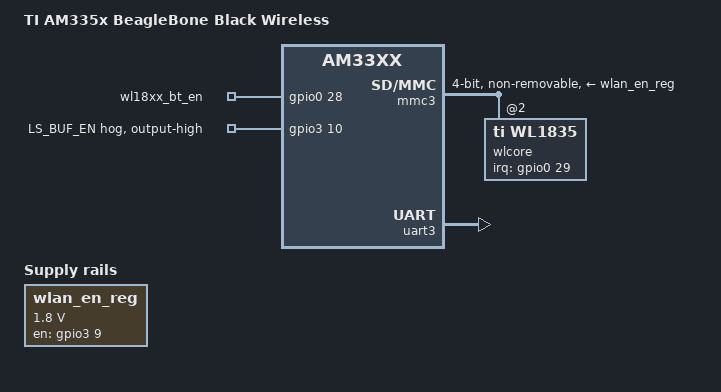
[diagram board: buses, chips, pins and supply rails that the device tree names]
/*
 * Copyright (C) 2012 Texas Instruments Incorporated - http://www.ti.com/
 *
 * This program is free software; you can redistribute it and/or modify
 * it under the terms of the GNU General Public License version 2 as
 * published by the Free Software Foundation.
 */

/dts-v1/;
/plugin/;

#include <dt-bindings/gpio/gpio.h>
#include <dt-bindings/pinctrl/am33xx.h>
#include <dt-bindings/interrupt-controller/irq.h>

/ {
	fragment@0 {
		target-path="/";
		__overlay__ {
			model = "TI AM335x BeagleBone Black Wireless";
			compatible = "ti,am335x-bone-black", "ti,am335x-bone", "ti,am33xx";

			wlan_en_reg: fixedregulator@2 {
				compatible = "regulator-fixed";
				regulator-name = "wlan-en-regulator";
				regulator-min-microvolt = <1800000>;
				regulator-max-microvolt = <1800000>;
				startup-delay-us= <70000>;

				/* WL_EN */
				gpio = <&gpio3 9 0>;
				enable-active-high;
			};

			leds {
				pinctrl-names = "default";
				pinctrl-0 = <&wl18xx_pins>;
				compatible = "gpio-leds";

				wl18xx_bt_en {
					label = "wl18xx_bt_en";
					gpios = <&gpio0 28 GPIO_ACTIVE_HIGH>;
					default-state = "off";
				};
			};
		};
	};

	fragment@1 {
		target = <&am33xx_pinmux>;
		__overlay__ {
			wl18xx_pins: pinmux_wl18xx_pins {
				pinctrl-single,pins = <
					AM33XX_IOPAD(0x928, PIN_OUTPUT_PULLUP | MUX_MODE7)	/* gmii1_txd0.gpio0_28 - BT_EN */
				>;
			};

			wlbtbuf_pin: pinmux_wlbtbuf_pin {
				pinctrl-single,pins = <
					AM33XX_IOPAD(0x930, PIN_OUTPUT_PULLUP | MUX_MODE7)	/* gmii1_rxclk.gpio3_10 LS_BUF_EN */
				>;
			};

			mmc3_pins: pinmux_mmc3_pins {
				pinctrl-single,pins = <
					AM33XX_IOPAD(0x93c, PIN_INPUT_PULLUP | MUX_MODE6 ) /* (L15) gmii1_rxd1.mmc2_clk */
					AM33XX_IOPAD(0x914, PIN_INPUT_PULLUP | MUX_MODE6 ) /* (J16) gmii1_txen.mmc2_cmd */
					AM33XX_IOPAD(0x918, PIN_INPUT_PULLUP | MUX_MODE5 ) /* (J17) gmii1_rxdv.mmc2_dat0 */
					AM33XX_IOPAD(0x91c, PIN_INPUT_PULLUP | MUX_MODE5 ) /* (J18) gmii1_txd3.mmc2_dat1 */
					AM33XX_IOPAD(0x920, PIN_INPUT_PULLUP | MUX_MODE5 ) /* (K15) gmii1_txd2.mmc2_dat2 */
					AM33XX_IOPAD(0x908, PIN_INPUT_PULLUP | MUX_MODE5 ) /* (H16) gmii1_col.mmc2_dat3 */
				>;
			};

			mmc3_pins_sleep: pinmux_mmc3_pins_sleep {
				pinctrl-single,pins = <
					AM33XX_IOPAD(0x93c, PIN_INPUT_PULLDOWN | MUX_MODE6 ) /* (L15) gmii1_rxd1.mmc2_clk */
					AM33XX_IOPAD(0x914, PIN_INPUT_PULLDOWN | MUX_MODE6 ) /* (J16) gmii1_txen.mmc2_cmd */
					AM33XX_IOPAD(0x918, PIN_INPUT_PULLDOWN | MUX_MODE5 ) /* (J17) gmii1_rxdv.mmc2_dat0 */
					AM33XX_IOPAD(0x91c, PIN_INPUT_PULLDOWN | MUX_MODE5 ) /* (J18) gmii1_txd3.mmc2_dat1 */
					AM33XX_IOPAD(0x920, PIN_INPUT_PULLDOWN | MUX_MODE5 ) /* (K15) gmii1_txd2.mmc2_dat2 */
					AM33XX_IOPAD(0x908, PIN_INPUT_PULLDOWN | MUX_MODE5 ) /* (H16) gmii1_col.mmc2_dat3 */
				>;
			};

			/* wl18xx card enable/irq GPIOs. */
			wlan_pins: pinmux_wlan_pins {
				pinctrl-single,pins = <
					AM33XX_IOPAD(0x92c, PIN_OUTPUT_PULLDOWN | MUX_MODE7)	/* gmii1_txclk.gpio3_9 WL_EN */
					AM33XX_IOPAD(0x944, PIN_INPUT_PULLDOWN | MUX_MODE7)	/* rmii1_refclk.gpio0_29 WL_IRQ */
				>;
			};

			/* wl18xx card enable/irq GPIOs. */
			wlan_pins_sleep: pinmux_wlan_pins_sleep {
				pinctrl-single,pins = <
					AM33XX_IOPAD(0x92c, PIN_OUTPUT_PULLDOWN | MUX_MODE7)	/* gmii1_txclk.gpio3_9 WL_EN */
					AM33XX_IOPAD(0x944, PIN_INPUT_PULLDOWN | MUX_MODE7)	/* rmii1_refclk.gpio0_29 WL_IRQ */
				>;
			};

			uart3_pins_default: pinmux_uart3_pins_default {
				pinctrl-single,pins = <
					AM33XX_IOPAD(0x934, PIN_INPUT_PULLUP | MUX_MODE1)	/* gmii1_rxd3.uart3_rxd */
					AM33XX_IOPAD(0x938, PIN_OUTPUT_PULLDOWN | MUX_MODE1)	/* gmii1_rxd2.uart3_txd */
					AM33XX_IOPAD(0x948, PIN_INPUT | MUX_MODE3)		/* mdio_data.uart3_ctsn */
					AM33XX_IOPAD(0x94c, PIN_OUTPUT_PULLDOWN | MUX_MODE3)	/* mdio_clk.uart3_rtsn */
				>;
			};

			uart3_pins_sleep: pinmux_uart3_pins_sleep {
				pinctrl-single,pins = <
					AM33XX_IOPAD(0x934, PIN_INPUT_PULLDOWN | MUX_MODE7)	/* (L17) gmii1_rxd3.uart3_rxd */
					AM33XX_IOPAD(0x938, PIN_INPUT_PULLDOWN | MUX_MODE7)	/* (L16) gmii1_rxd2.uart3_txd */
					AM33XX_IOPAD(0x948, PIN_INPUT_PULLDOWN | MUX_MODE7)	/* (M17) mdio_data.uart3_ctsn */
					AM33XX_IOPAD(0x94c, PIN_INPUT_PULLDOWN | MUX_MODE7)	/* (M18) mdio_clk.uart3_rtsn */
				>;
			};
		};
	};

	fragment@2 {
		target = <&mac>;
		__overlay__ {
			status = "disabled";
		};
	};

	fragment@3 {
		target = <&mmc3>;
		__overlay__ {
			dmas = <&edma_xbar 12 0 1
				&edma_xbar 13 0 2>;
			dma-names = "tx", "rx";
			status = "okay";
			vmmc-supply = <&wlan_en_reg>;
			bus-width = <4>;
			non-removable;
			cap-power-off-card;
			ti,needs-special-hs-handling;
			keep-power-in-suspend;
			pinctrl-names = "default", "sleep";
			pinctrl-0 = <&mmc3_pins &wlan_pins &wlbtbuf_pin>;
			pinctrl-1 = <&mmc3_pins_sleep &wlan_pins_sleep &wlbtbuf_pin>;

			#address-cells = <1>;
			#size-cells = <0>;
			wlcore: wlcore@2 {
				compatible = "ti,wl1835";
				reg = <2>;
				interrupt-parent = <&gpio0>;
				interrupts = <29 IRQ_TYPE_EDGE_RISING>;
			};
		};
	};

	fragment@4 {
		target = <&uart3>;
		__overlay__ {
			pinctrl-names = "default", "sleep";
			pinctrl-0 = <&uart3_pins_default>;
			pinctrl-1 = <&uart3_pins_sleep>;
			status = "okay";
		};
	};

	fragment@5 {
		target = <&gpio3>;
		__overlay__ {
			ls_buf_en {
				gpio-hog;
				gpios = <10 GPIO_ACTIVE_HIGH>;
				output-high;
				line-name = "LS_BUF_EN";
			};
		};
	};
};
